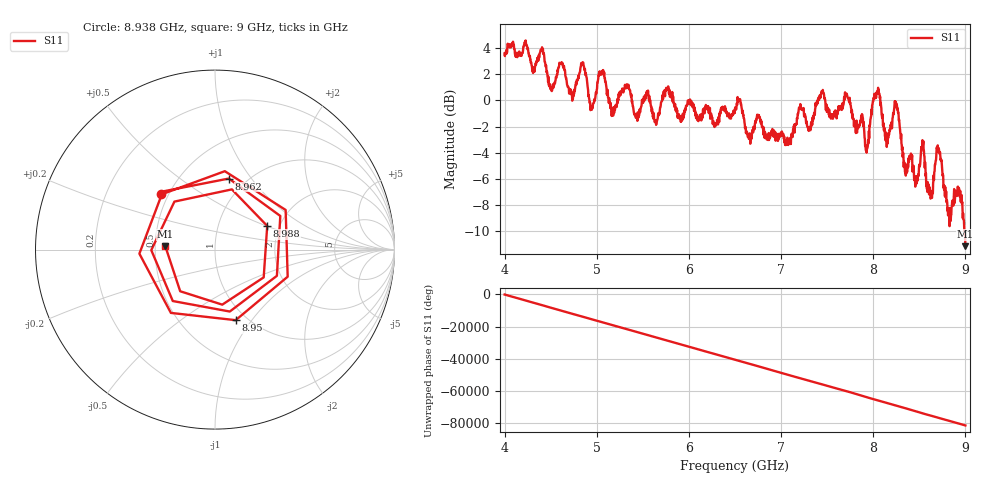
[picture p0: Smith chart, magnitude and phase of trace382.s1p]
! Created with skrf 1.8.0 (http://scikit-rf.org).
# Hz S RI R 50.0
!freq ReS11 ImS11
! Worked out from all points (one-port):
!   1601 points, 4 GHz to 9 GHz, reference 50 ohm
!   lowest |S11| = -11.1 dB at 9 GHz (marker M1), VSWR 1.77, Z = 28.3 + j1.15 ohm
!   |S11| at or under -10 dB: 8.989354 GHz to end of sweep
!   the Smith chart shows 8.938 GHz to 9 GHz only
!   S11 on the Smith chart (normalised r, x): 8.938 GHz: 0.46, +0.34; 8.95 GHz: 0.89, -0.84; 8.962 GHz: 0.83, +0.79; 8.988 GHz: 1.73, +0.51; 9 GHz: 0.57, +0.02
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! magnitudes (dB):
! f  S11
! 4 GHz  3.6
! 4.406 GHz  4.1
! 4.503 GHz  0.8
! 4.625 GHz  2.8
! 4.731 GHz  0.4
! 4.85 GHz  2.9
! 4.944 GHz  -0.6
! 5.047 GHz  2.1
! 5.25 GHz  0.7
! 5.875 GHz  -1.1
! 6.5 GHz  -0.6
! 7.125 GHz  -2.8
! 7.441 GHz  0.7
! 7.75 GHz  -0.1
! 7.931 GHz  -3.7
! 8.034 GHz  0.6
! 8.15 GHz  -2.9
! 8.25 GHz  -0.2
! 8.375 GHz  -4.8
! 8.538 GHz  -3.5
! 8.625 GHz  -7.4
! 8.709 GHz  -3.8
! 8.822 GHz  -8.6
! 8.938 GHz  -7.3
! 8.95 GHz  -7.8
! 8.962 GHz  -7.9
! 8.988 GHz  -9.9
! 9 GHz  -11.1
